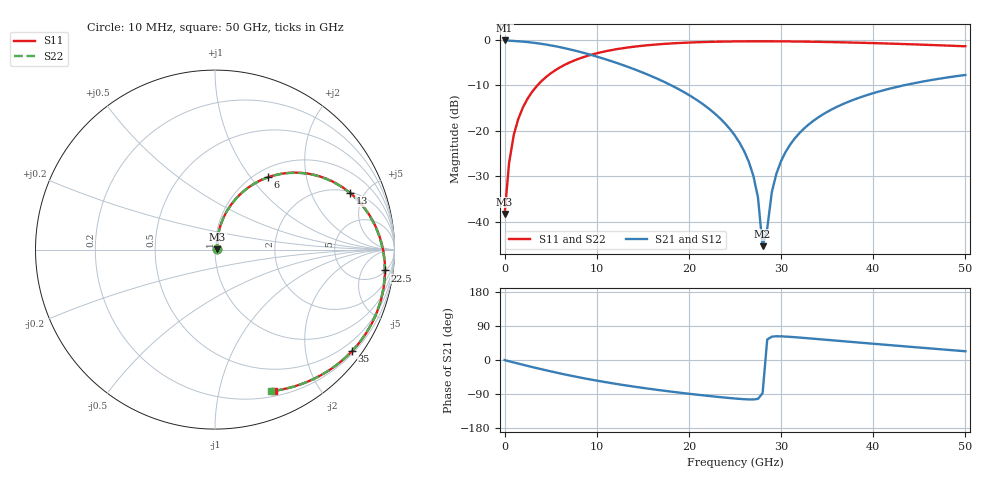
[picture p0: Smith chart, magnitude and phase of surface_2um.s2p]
#  GHZ S DB R 50.0
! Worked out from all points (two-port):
!   102 points, 10 MHz to 50 GHz, reference 50 ohm
!   highest |S21| = -0.11 dB at 10 MHz (marker M1); lowest = -45.3 dB at 28 GHz (marker M2)
!   |S21| within 3 dB of the highest: start of sweep to 9.075 GHz
!   lowest |S11| = -38.2 dB at 10 MHz (marker M3), VSWR 1.02, Z = 51.2 + j0.091 ohm
!   |S11| at or under -10 dB: start of sweep to 3.563 GHz
!   |S22| runs from -38.2 to -0.3 dB; largest |S21 - S12| = 2.7e-13
!   S11 on the Smith chart (normalised r, x): 10 MHz: 1.02, +0.00; 6 GHz: 1.14, +1.22; 13 GHz: 2.07, +3.93; 22.5 GHz: 5, -14; 35 GHz: 0.26, -3.00; 50 GHz: 0.26, -1.47
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0.01  -38.24 4.2  -0.11 -0.1  -0.11 -0.1  -38.24 4.2
0.5  -26.91 73.3  -0.16 -3.4  -0.16 -3.4  -26.92 73.2
1  -20.88 78.2  -0.22 -6.5  -0.22 -6.5  -20.88 78.2
1.5  -17.31 77.4  -0.29 -9.6  -0.29 -9.6  -17.32 77.3
3.5  -10.13 67.4  -0.70 -21.4  -0.70 -21.4  -10.14 67.4
6  -6.04 53.9  -1.58 -35.3  -1.58 -35.3  -6.05 53.8
8.5  -3.81 41.6  -2.79 -47.7  -2.79 -47.7  -3.82 41.5
13  -1.76 22.8  -5.63 -66.4  -5.63 -66.4  -1.77 22.6
17  -0.91 9.0  -8.91 -80.1  -8.91 -80.1  -0.92 8.8
22.5  -0.41 -7.0  -15.64 -95.7  -15.64 -95.7  -0.41 -7.3
25.5  -0.31 -14.7  -22.59 -102.6  -22.59 -102.6  -0.32 -15.1
27  -0.29 -18.4  -29.88 -104.2  -29.88 -104.2  -0.30 -18.8
27.5  -0.29 -19.6  -34.66 -102.6  -34.66 -102.6  -0.30 -20.0
28  -0.29 -20.8  -45.33 -87.4  -45.33 -87.4  -0.30 -21.2
28.5  -0.29 -22.0  -41.45 54.1  -41.45 54.1  -0.30 -22.4
29  -0.29 -23.2  -33.45 61.6  -33.45 61.6  -0.31 -23.6
30  -0.31 -25.5  -26.64 62.4  -26.64 62.4  -0.32 -25.9
31.5  -0.34 -28.9  -21.62 60.1  -21.62 60.1  -0.35 -29.3
33.5  -0.39 -33.3  -17.78 56.2  -17.78 56.2  -0.41 -33.8
35  -0.45 -36.6  -15.82 53.1  -15.82 53.1  -0.46 -37.1
42  -0.81 -51.3  -10.60 38.9  -10.60 38.9  -0.83 -51.9
50  -1.39 -67.4  -7.69 23.1  -7.69 23.1  -1.42 -68.4
